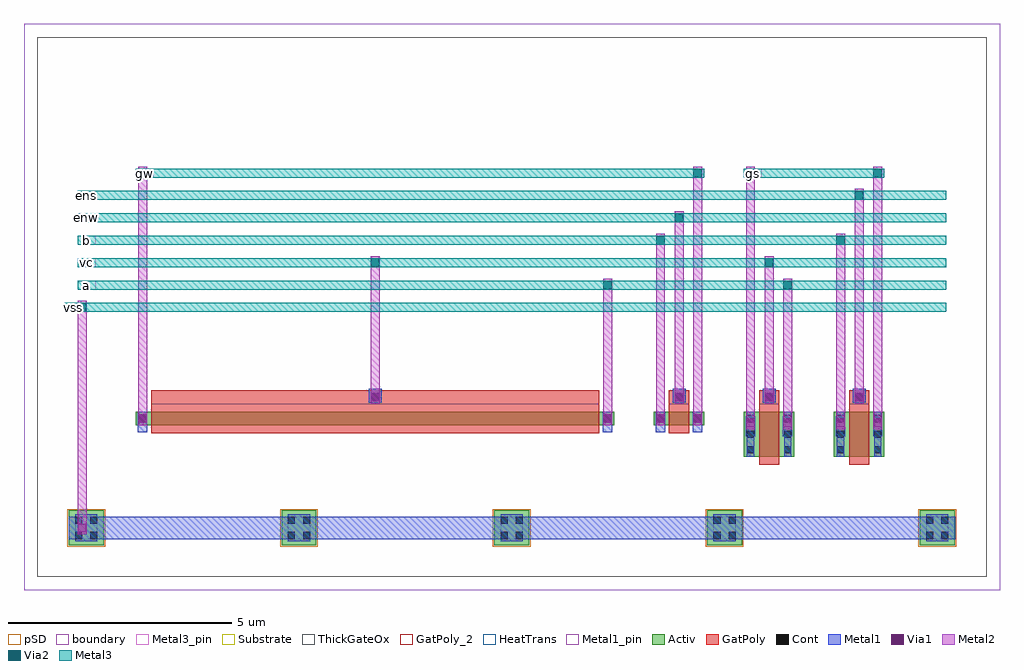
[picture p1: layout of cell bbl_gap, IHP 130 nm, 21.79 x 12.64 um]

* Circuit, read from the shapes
.subckt bbl_gap a b ens enw gs gw vc vss
XM1 a vc gw vss sg13_hv_nmos w=0.3u l=10u
XM2 gw enw b vss sg13_hv_nmos w=0.3u l=0.45u
XM3 a vc gs vss sg13_hv_nmos w=1u l=0.45u
XM4 gs ens b vss sg13_hv_nmos w=1u l=0.45u
.ends

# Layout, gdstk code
import gdstk
lib = gdstk.Library(unit=1e-6, precision=1e-09)
def R(c, l, rs):  # rectangles x0, y0, x1, y1
    for r in rs: c.add(gdstk.rectangle(r[:2], r[2:], *l))
def A(c, l, x, y, w, h, nx, ny, dx, dy):  # array of equal rectangles
    R(c, l, [(x+i*dx, y+j*dy, x+i*dx+w, y+j*dy+h) for i in range(nx) for j in range(ny)])
Activ = (1, 0)
GatPoly = (5, 0)
GatPoly_2 = (5, 2)
Cont = (6, 0)
Metal1 = (8, 0)
Metal1_pin = (8, 2)
Metal2 = (10, 0)
pSD = (14, 0)
Via1 = (19, 0)
Via2 = (29, 0)
Metal3 = (30, 0)
Metal3_pin = (30, 2)
Substrate = (40, 0)
ThickGateOx = (44, 0)
HeatTrans = (51, 0)
boundary = (189, 4)

nmoshv_15 = lib.new_cell('nmosHV$15')
R(nmoshv_15, Activ, [(0,0,0.3,0.3), (0,0,10.68,0.3), (10.38,0,10.68,0.3)])
R(nmoshv_15, GatPoly, [(0.34,-0.18,10.34,0.48)])
R(nmoshv_15, GatPoly_2, [(0.34,-0.18,10.34,0.48)])
R(nmoshv_15, Cont, [(0.07,0.07,0.23,0.23), (10.45,0.07,10.61,0.23)])
R(nmoshv_15, Metal1, [(0.07,0,0.23,0.3), (10.45,0,10.61,0.3)])
R(nmoshv_15, Metal1_pin, [(0.07,0,0.23,0.3), (10.45,0,10.61,0.3)])
R(nmoshv_15, ThickGateOx, [(-0.27,-0.52,10.95,0.82)])
R(nmoshv_15, HeatTrans, [(0.34,-0.18,10.34,0.48)])
nmoshv_15.add(gdstk.Label('nmosHV', (5.34,0.15), layer=63, texttype=0))
nmoshv_15.add(gdstk.Label('nmosHV', (5.34,0.15), layer=51, texttype=0))

nmoshv_7 = lib.new_cell('nmosHV$7')
R(nmoshv_7, Activ, [(0,0,0.3,0.3), (0,0,1.13,0.3), (0.83,0,1.13,0.3)])
R(nmoshv_7, GatPoly, [(0.34,-0.18,0.79,0.48)])
R(nmoshv_7, GatPoly_2, [(0.34,-0.18,0.79,0.48)])
R(nmoshv_7, Cont, [(0.07,0.07,0.23,0.23), (0.9,0.07,1.06,0.23)])
R(nmoshv_7, Metal1, [(0.07,0,0.23,0.3), (0.9,0,1.06,0.3)])
R(nmoshv_7, Metal1_pin, [(0.07,0,0.23,0.3), (0.9,0,1.06,0.3)])
R(nmoshv_7, ThickGateOx, [(-0.27,-0.52,1.4,0.82)])
R(nmoshv_7, HeatTrans, [(0.34,-0.18,0.79,0.48)])
nmoshv_7.add(gdstk.Label('nmosHV', (0.565,0.15), layer=63, texttype=0))
nmoshv_7.add(gdstk.Label('nmosHV', (0.565,0.15), layer=51, texttype=0))

nmoshv_14 = lib.new_cell('nmosHV$14')
R(nmoshv_14, Activ, [(0,0,0.3,0.3), (0,0,1.13,1), (0.83,0,1.13,0.3)])
R(nmoshv_14, GatPoly, [(0.34,-0.18,0.79,1.18)])
R(nmoshv_14, GatPoly_2, [(0.34,-0.18,0.79,1.18)])
A(nmoshv_14, Cont, 0.07, 0.07, 0.16, 0.16, 1, 3, 0, 0.35)
A(nmoshv_14, Cont, 0.9, 0.07, 0.16, 0.16, 1, 3, 0, 0.35)
R(nmoshv_14, Metal1, [(0.07,0,0.23,1), (0.9,0,1.06,1)])
R(nmoshv_14, Metal1_pin, [(0.07,0,0.23,1), (0.9,0,1.06,1)])
R(nmoshv_14, ThickGateOx, [(-0.27,-0.52,1.4,1.52)])
R(nmoshv_14, HeatTrans, [(0.34,-0.18,0.79,1.18)])
nmoshv_14.add(gdstk.Label('nmosHV', (0.565,0.5), layer=63, texttype=0))
nmoshv_14.add(gdstk.Label('nmosHV', (0.565,0.5), layer=51, texttype=0))

ptap1 = lib.new_cell('ptap1')
R(ptap1, Activ, [(0,0,0.78,0.78)])
R(ptap1, Cont, [(0.14,0.14,0.3,0.3), (0.48,0.14,0.64,0.3), (0.14,0.48,0.3,0.64), (0.48,0.48,0.64,0.64)])
R(ptap1, Metal1, [(0.14,0.09,0.64,0.69), (0.14,0.14,0.64,0.64)])
R(ptap1, Metal1_pin, [(0.14,0.14,0.64,0.64)])
R(ptap1, pSD, [(-0.03,-0.03,0.81,0.81)])
R(ptap1, Substrate, [(0,0,0.78,0.78)])
ptap1.add(gdstk.Label('sub!', (0.39,0.01), layer=63, texttype=0))
ptap1.add(gdstk.Label('sub!', (0.39,0.01), layer=40, texttype=0))

bbl_gap = lib.new_cell('bbl_gap')
A(bbl_gap, GatPoly, 13.4, 3.05, 0.45, 0.41, 3, 1, 2.01, 0)
R(bbl_gap, GatPoly, [(1.84,3.05,11.84,3.46)])
A(bbl_gap, Cont, 13.545, 3.23, 0.16, 0.16, 3, 1, 2.01, 0)
R(bbl_gap, Cont, [(6.76,3.23,6.92,3.39)])
A(bbl_gap, Metal1, 13.48, 3.18, 0.29, 0.32, 3, 1, 2.01, 0)
R(bbl_gap, Metal1, [(0,0.14,19.79,0.64), (15.115,2.43,15.325,2.88), (15.945,2.43,16.155,2.88), (17.125,2.43,17.335,2.88), (17.955,2.43,18.165,2.88), (1.545,2.525,1.755,2.975), (11.925,2.525,12.135,2.975), (13.105,2.525,13.315,2.975), (13.935,2.525,14.145,2.975), (6.695,3.18,6.985,3.5)])
R(bbl_gap, Metal2, [(0.2,0.245,0.4,5.455), (15.12,2.59,15.32,8.455), (15.95,2.59,16.15,5.955), (17.13,2.59,17.33,6.955), (17.96,2.59,18.16,8.455), (1.55,2.685,1.75,8.455), (11.93,2.685,12.13,5.955), (13.11,2.685,13.31,6.955), (13.94,2.685,14.14,8.455), (6.74,3.165,6.94,6.455), (13.525,3.165,13.725,7.455), (15.535,3.165,15.735,6.455), (17.545,3.165,17.745,7.955)])
A(bbl_gap, Via1, 13.53, 3.215, 0.19, 0.19, 3, 1, 2.01, 0)
R(bbl_gap, Via1, [(0.205,0.295,0.395,0.485), (15.125,2.64,15.315,2.83), (15.955,2.64,16.145,2.83), (17.135,2.64,17.325,2.83), (17.965,2.64,18.155,2.83), (1.555,2.735,1.745,2.925), (11.935,2.735,12.125,2.925), (13.115,2.735,13.305,2.925), (13.945,2.735,14.135,2.925), (6.745,3.215,6.935,3.405)])
R(bbl_gap, Via2, [(0.205,5.215,0.395,5.405), (11.935,5.715,12.125,5.905), (15.955,5.715,16.145,5.905), (6.745,6.215,6.935,6.405), (15.54,6.215,15.73,6.405), (13.115,6.715,13.305,6.905), (17.135,6.715,17.325,6.905), (13.53,7.215,13.72,7.405), (17.55,7.715,17.74,7.905), (1.555,8.215,1.745,8.405), (13.945,8.215,14.135,8.405), (15.125,8.215,15.315,8.405), (17.965,8.215,18.155,8.405)])
A(bbl_gap, Metal3, 0.2, 5.71, 19.39, 0.2, 1, 5, 0, 0.5)
R(bbl_gap, Metal3, [(-0.1,5.21,19.59,5.41), (1.5,8.21,14.19,8.41), (15.07,8.21,18.21,8.41)])
A(bbl_gap, Metal3_pin, 0.2, 5.71, 0.4, 0.2, 1, 5, 0, 0.5)
R(bbl_gap, Metal3_pin, [(-0.1,5.21,0.3,5.41), (1.5,8.21,1.9,8.41), (15.07,8.21,15.47,8.41)])
R(bbl_gap, ThickGateOx, [(-0.7,-0.7,20.49,11.34)])
R(bbl_gap, boundary, [(-1,-1,20.79,11.64)])
bbl_gap.add(gdstk.Reference(nmoshv_15, (1.5,2.68)))
bbl_gap.add(gdstk.Reference(nmoshv_7, (13.06,2.68)))
bbl_gap.add(gdstk.Reference(nmoshv_14, (15.07,1.98)))
bbl_gap.add(gdstk.Reference(nmoshv_14, (17.08,1.98)))
bbl_gap.add(gdstk.Reference(ptap1, (0,0)))
bbl_gap.add(gdstk.Reference(ptap1, (4.75,0)))
bbl_gap.add(gdstk.Reference(ptap1, (9.5,0)))
bbl_gap.add(gdstk.Reference(ptap1, (14.25,0)))
bbl_gap.add(gdstk.Reference(ptap1, (19,0)))
bbl_gap.add(gdstk.Label('gw', (1.7,8.31), layer=30, texttype=25))
bbl_gap.add(gdstk.Label('a', (0.4,5.81), layer=30, texttype=25))
bbl_gap.add(gdstk.Label('vc', (0.4,6.31), layer=30, texttype=25))
bbl_gap.add(gdstk.Label('b', (0.4,6.81), layer=30, texttype=25))
bbl_gap.add(gdstk.Label('enw', (0.4,7.31), layer=30, texttype=25))
bbl_gap.add(gdstk.Label('gs', (15.27,8.31), layer=30, texttype=25))
bbl_gap.add(gdstk.Label('ens', (0.4,7.81), layer=30, texttype=25))
bbl_gap.add(gdstk.Label('vss', (0.1,5.31), layer=30, texttype=25))

lib.write_gds('bbl_gap.gds')
